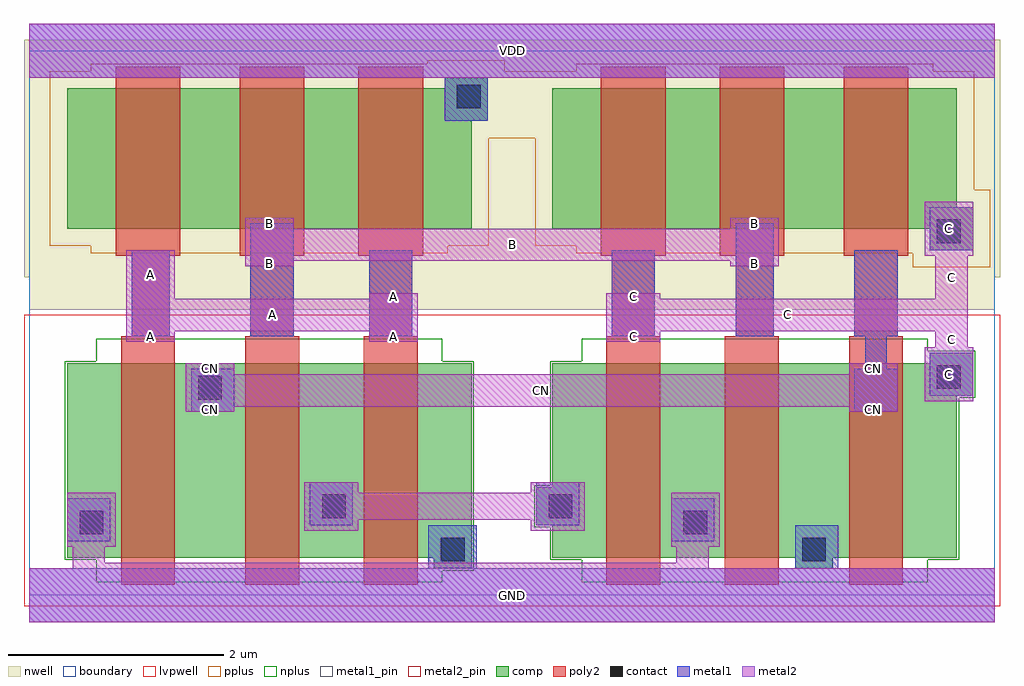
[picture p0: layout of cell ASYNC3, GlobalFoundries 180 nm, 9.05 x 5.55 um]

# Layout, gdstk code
import gdstk
lib = gdstk.Library(unit=1e-6, precision=1e-09)
def R(c, l, rs):  # rectangles x0, y0, x1, y1
    for r in rs: c.add(gdstk.rectangle(r[:2], r[2:], *l))
def A(c, l, x, y, w, h, nx, ny, dx, dy):  # array of equal rectangles
    R(c, l, [(x+i*dx, y+j*dy, x+i*dx+w, y+j*dy+h) for i in range(nx) for j in range(ny)])
boundary = (0, 0)
nwell = (21, 0)
comp = (22, 0)
poly2 = (30, 0)
pplus = (31, 0)
nplus = (32, 0)
contact = (33, 0)
metal1 = (34, 0)
metal1_pin = (34, 10)
metal2 = (36, 0)
metal2_pin = (36, 10)
lvpwell = (204, 0)

async3 = lib.new_cell('ASYNC3')
R(async3, boundary, [(0,0,8.95,5.05)])
R(async3, nwell, [(0,2.65,8.95,2.95), (-0.05,2.95,9,5.15)])
R(async3, comp, [(3.75,0.25,4.1,0.35), (7.1,0.25,7.45,0.35), (0.35,0.35,4.1,2.15), (4.85,0.35,8.6,0.65), (4.7,0.65,8.6,1), (4.85,1,8.6,1.85), (4.85,1.85,8.75,2.15), (8.35,2.15,8.75,2.25), (8.35,3.2,8.75,3.4), (0.35,3.4,4.1,4.4), (4.85,3.4,8.75,3.6), (4.85,3.6,8.6,4.7), (0.35,4.4,4.25,4.7), (3.85,4.7,4.25,4.8)])
A(async3, poly2, 3.15, 2.4, 0.4, 0.75, 3, 1, 2.25, 0)
R(async3, poly2, [(0.85,0.1,1.35,2.4), (2,0.1,2.5,2.4), (3.1,0.1,3.6,2.4), (5.35,0.1,5.85,2.4), (6.45,0.1,6.95,2.4), (7.6,0.1,8.1,2.4), (0.95,2.4,1.3,3.15), (2.05,2.4,2.45,3.15), (6.55,2.4,6.9,3.15), (0.8,3.15,1.4,4.9), (1.95,3.15,2.55,4.9), (3.05,3.15,3.65,4.9), (5.3,3.15,5.9,4.9), (6.4,3.15,7,4.9), (7.55,3.15,8.15,4.9)])
R(async3, pplus, [(8.19,3.04,8.91,3.17), (0.57,3.17,3.88,3.24), (5.07,3.17,8.91,3.24), (0.19,3.24,4.26,4.24), (4.69,3.24,8.91,3.76), (4.69,3.76,8.76,4.24), (0.19,4.24,8.76,4.86), (0.57,4.86,4.41,4.93), (5.07,4.86,8.38,4.93), (3.69,4.93,4.41,4.96)])
R(async3, nplus, [(0.62,0.12,3.83,0.23), (5.12,0.12,8.33,0.33), (0.62,0.23,4.12,0.33), (0.33,0.33,4.12,2.17), (4.83,0.33,8.62,0.63), (4.68,0.63,8.62,1.02), (4.83,1.02,8.62,1.83), (4.83,1.83,8.77,2.17), (0.62,2.17,3.83,2.38), (5.12,2.17,8.77,2.27), (5.12,2.27,8.33,2.38)])
R(async3, contact, [(3.815,0.315,4.035,0.535), (7.165,0.315,7.385,0.535), (0.465,0.565,0.685,0.785), (6.065,0.565,6.285,0.785), (2.715,0.715,2.935,0.935), (4.815,0.715,5.035,0.935), (1.565,1.815,1.785,2.035), (8.415,1.915,8.635,2.135), (8.415,3.265,8.635,3.485), (3.965,4.515,4.185,4.735)])
A(async3, metal1, 3.15, 2.4, 0.4, 0.8, 3, 1, 2.25, 0)
R(async3, metal1, [(0,-0.25,8.95,0.25), (3.7,0.25,4.15,0.65), (7.1,0.25,7.5,0.65), (0.35,0.5,0.75,0.9), (5.95,0.5,6.35,0.9), (2.6,0.65,3,1.05), (4.7,0.65,5.1,1.05), (1.5,1.7,1.9,2.1), (7.65,1.7,8.05,2.1), (8.35,1.85,8.75,2.25), (7.75,2.1,7.95,2.4), (0.95,2.4,1.3,3.2), (2.05,2.4,2.45,3.45), (6.55,2.4,6.9,3.45), (8.35,3.2,8.75,3.6), (3.85,4.4,4.25,4.8), (0,4.8,8.95,5.3)])
R(async3, metal1_pin, [(0,-0.25,8.95,0.25), (0,4.8,8.95,5.3)])
R(async3, metal2, [(0,-0.25,8.95,0.25), (0.4,0.25,6.3,0.3), (0.4,0.3,0.7,0.45), (6,0.3,6.3,0.45), (0.35,0.45,0.8,0.95), (5.95,0.45,6.4,0.95), (2.55,0.6,3.05,0.7), (4.65,0.6,5.15,0.7), (2.55,0.7,5.15,0.95), (2.55,0.95,3.05,1.05), (4.65,0.95,5.15,1.05), (1.45,1.7,1.9,1.75), (7.6,1.7,8.05,1.75), (1.45,1.75,8.05,2.05), (8.3,1.8,8.75,2.3), (1.45,2.05,1.9,2.15), (7.6,2.05,8.05,2.15), (8.4,2.3,8.7,2.45), (0.9,2.35,1.35,2.45), (3.15,2.35,3.6,2.45), (5.35,2.35,5.85,2.45), (0.9,2.45,3.6,2.75), (5.35,2.45,8.7,2.75), (0.9,2.75,1.35,3.2), (3.15,2.75,3.6,2.8), (5.35,2.75,5.85,2.8), (8.4,2.75,8.7,3.15), (2,3.05,2.45,3.1), (6.5,3.05,6.95,3.1), (2,3.1,6.95,3.4), (8.3,3.15,8.75,3.65), (2,3.4,2.45,3.5), (6.5,3.4,6.95,3.5), (0,4.8,8.95,5.3)])
R(async3, metal2_pin, [(1.45,1.7,1.9,1.75), (7.6,1.7,8.05,1.75), (1.45,1.75,8.05,2.05), (8.3,1.8,8.75,2.3), (1.45,2.05,1.9,2.15), (7.6,2.05,8.05,2.15), (8.4,2.3,8.7,2.45), (0.9,2.35,1.35,2.45), (3.15,2.35,3.6,2.45), (5.35,2.35,5.85,2.45), (0.9,2.45,3.6,2.75), (5.35,2.45,8.7,2.75), (0.9,2.75,1.35,3.2), (3.15,2.75,3.6,2.8), (5.35,2.75,5.85,2.8), (8.4,2.75,8.7,3.15), (2,3.05,2.45,3.1), (6.5,3.05,6.95,3.1), (2,3.1,6.95,3.4), (8.3,3.15,8.75,3.65), (2,3.4,2.45,3.5), (6.5,3.4,6.95,3.5)])
R(async3, lvpwell, [(-0.05,-0.1,9,2.6)])
async3.add(gdstk.Label('VDD', (4.475,5.05), layer=34, texttype=10))
async3.add(gdstk.Label('GND', (4.475,0), layer=34, texttype=10))
async3.add(gdstk.Label('CN', (1.675,1.725), layer=36, texttype=10))
async3.add(gdstk.Label('CN', (7.825,1.725), layer=36, texttype=10))
async3.add(gdstk.Label('CN', (4.75,1.9), layer=36, texttype=10))
async3.add(gdstk.Label('CN', (1.675,2.1), layer=36, texttype=10))
async3.add(gdstk.Label('CN', (7.825,2.1), layer=36, texttype=10))
async3.add(gdstk.Label('C', (8.525,2.05), layer=36, texttype=10))
async3.add(gdstk.Label('C', (5.6,2.4), layer=36, texttype=10))
async3.add(gdstk.Label('C', (8.55,2.375), layer=36, texttype=10))
async3.add(gdstk.Label('C', (7.025,2.6), layer=36, texttype=10))
async3.add(gdstk.Label('C', (5.6,2.775), layer=36, texttype=10))
async3.add(gdstk.Label('C', (8.55,2.95), layer=36, texttype=10))
async3.add(gdstk.Label('C', (8.525,3.4), layer=36, texttype=10))
async3.add(gdstk.Label('A', (1.125,2.4), layer=36, texttype=10))
async3.add(gdstk.Label('A', (3.375,2.4), layer=36, texttype=10))
async3.add(gdstk.Label('A', (2.25,2.6), layer=36, texttype=10))
async3.add(gdstk.Label('A', (3.375,2.775), layer=36, texttype=10))
async3.add(gdstk.Label('A', (1.125,2.975), layer=36, texttype=10))
async3.add(gdstk.Label('B', (2.225,3.075), layer=36, texttype=10))
async3.add(gdstk.Label('B', (6.725,3.075), layer=36, texttype=10))
async3.add(gdstk.Label('B', (4.475,3.25), layer=36, texttype=10))
async3.add(gdstk.Label('B', (2.225,3.45), layer=36, texttype=10))
async3.add(gdstk.Label('B', (6.725,3.45), layer=36, texttype=10))

lib.write_gds('ASYNC3.gds')
